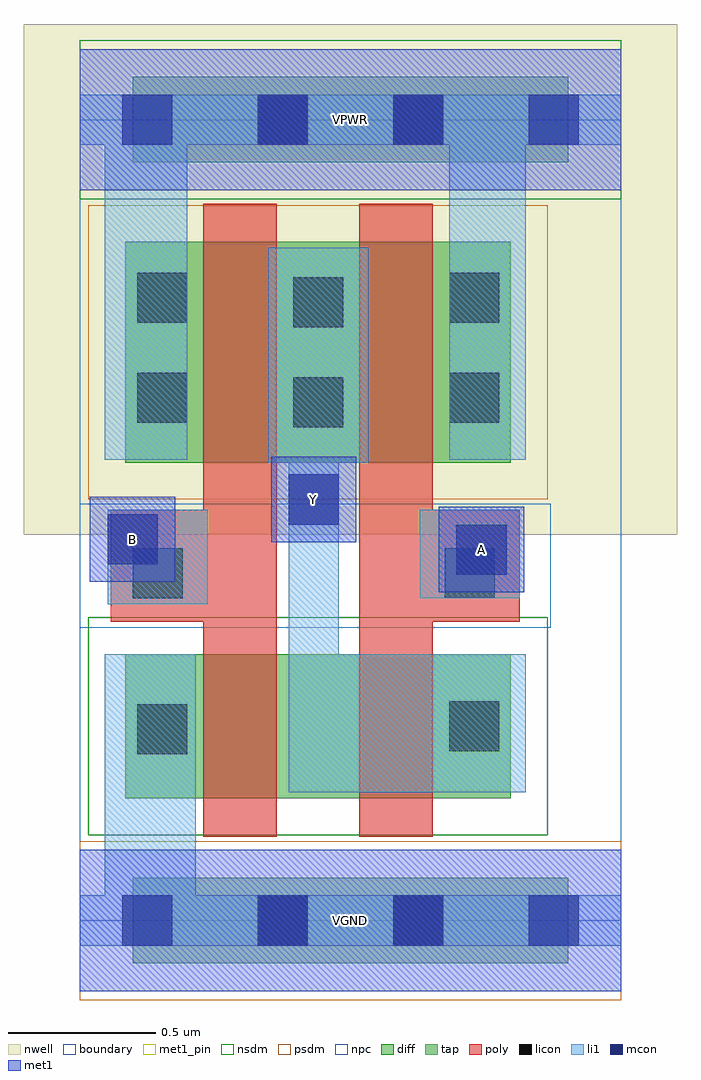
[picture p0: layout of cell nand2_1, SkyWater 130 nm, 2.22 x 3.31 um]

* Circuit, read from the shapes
.subckt nand2_1 A B VGND VPWR Y
XM1 n1 B VGND VGND sky130_fd_pr__nfet_01v8 w=0.49 l=0.25
XM2 Y A n1 VGND sky130_fd_pr__nfet_01v8 w=0.49 l=0.25
XM3 Y B VPWR VPWR sky130_fd_pr__pfet_01v8 w=0.75 l=0.25
XM4 VPWR A Y VPWR sky130_fd_pr__pfet_01v8 w=0.75 l=0.25
.ends

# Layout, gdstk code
import gdstk
lib = gdstk.Library(unit=1e-6, precision=1e-09)
def R(c, l, rs):  # rectangles x0, y0, x1, y1
    for r in rs: c.add(gdstk.rectangle(r[:2], r[2:], *l))
def A(c, l, x, y, w, h, nx, ny, dx, dy):  # array of equal rectangles
    R(c, l, [(x+i*dx, y+j*dy, x+i*dx+w, y+j*dy+h) for i in range(nx) for j in range(ny)])
nwell = (64, 20)
diff = (65, 20)
tap = (65, 44)
poly = (66, 20)
licon = (66, 44)
li1 = (67, 20)
mcon = (67, 44)
met1_pin = (68, 16)
met1 = (68, 20)
nsdm = (93, 44)
psdm = (94, 20)
npc = (95, 20)
boundary = (235, 4)

nand2_1 = lib.new_cell('nand2_1')
R(nand2_1, nwell, [(-0.19,1.31,2.03,3.045), (0,1.31,1.84,3.045)])
R(nand2_1, diff, [(0.155,0.415,1.465,0.905), (0.155,1.555,1.465,2.305)])
R(nand2_1, tap, [(0.18,-0.145,1.66,0.145), (0.18,2.575,1.66,2.865)])
R(nand2_1, poly, [(0.42,0.285,0.67,2.435), (0.95,0.285,1.2,2.435), (0.105,1.015,0.67,1.395), (0.95,1.015,1.495,1.395)])
R(nand2_1, licon, [(0.605,-0.085,0.775,0.085), (1.065,-0.085,1.235,0.085), (0.195,0.565,0.365,0.735), (1.255,0.575,1.425,0.745), (0.18,1.095,0.35,1.265), (1.24,1.095,1.41,1.265), (0.725,1.675,0.895,1.845), (0.195,1.69,0.365,1.86), (1.255,1.69,1.425,1.86), (0.725,2.015,0.895,2.185), (0.195,2.03,0.365,2.2), (1.255,2.03,1.425,2.2), (0.605,2.635,0.775,2.805), (1.065,2.635,1.235,2.805)])
R(nand2_1, li1, [(0,-0.085,1.84,0.085), (0.085,-0.085,0.395,0.905), (0.71,0.435,1.515,0.905), (0.71,0.435,0.88,2.285), (0.095,1.075,0.435,1.395), (1.155,1.095,1.495,1.395), (0.64,1.555,0.98,2.285), (0.085,1.565,0.365,2.805), (1.255,1.565,1.515,2.805), (0,2.635,1.84,2.805)])
A(nand2_1, mcon, 0.145, -0.085, 0.17, 0.17, 4, 2, 0.46, 2.72)
R(nand2_1, mcon, [(1.28,1.175,1.45,1.345), (0.095,1.21,0.265,1.38), (0.71,1.345,0.88,1.515)])
R(nand2_1, met1_pin, [(0,-0.24,1.84,0.24), (1.22,1.115,1.51,1.405), (0.035,1.15,0.325,1.44), (0.65,1.285,0.94,1.575), (0,2.48,1.84,2.96)])
R(nand2_1, met1, [(0,-0.24,1.84,0.24), (1.22,1.115,1.51,1.405), (0.035,1.15,0.325,1.44), (0.65,1.285,0.94,1.575), (0,2.48,1.84,2.96)])
R(nand2_1, nsdm, [(0.03,0.29,1.59,1.03), (0,2.45,1.84,2.99)])
R(nand2_1, psdm, [(0,-0.27,1.84,0.27), (0.03,1.43,1.59,2.43)])
R(nand2_1, npc, [(0,0.995,1.6,1.415)])
R(nand2_1, boundary, [(0,0,1.84,2.72)])
nand2_1.add(gdstk.Label('A', (1.365,1.26), layer=68, texttype=5))
nand2_1.add(gdstk.Label('B', (0.18,1.295), layer=68, texttype=5))
nand2_1.add(gdstk.Label('Y', (0.795,1.43), layer=68, texttype=5))
nand2_1.add(gdstk.Label('VPWR', (0.92,2.72), layer=68, texttype=5))
nand2_1.add(gdstk.Label('VGND', (0.92,0), layer=68, texttype=5))
nand2_1.add(gdstk.Label('A', (1.365,1.26), layer=68, texttype=16))
nand2_1.add(gdstk.Label('B', (0.18,1.295), layer=68, texttype=16))
nand2_1.add(gdstk.Label('Y', (0.795,1.43), layer=68, texttype=16))
nand2_1.add(gdstk.Label('VPWR', (0.92,2.72), layer=68, texttype=16))
nand2_1.add(gdstk.Label('VGND', (0.92,0), layer=68, texttype=16))

lib.write_gds('nand2_1.gds')
